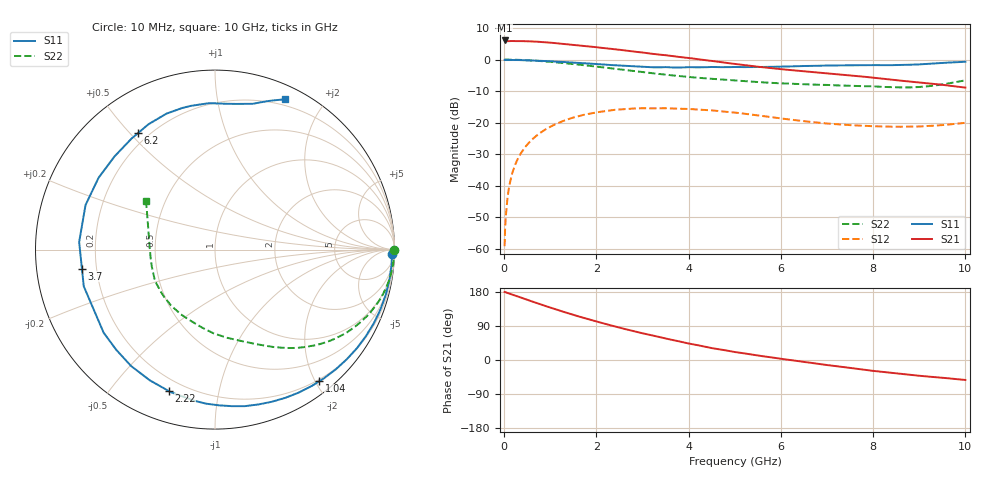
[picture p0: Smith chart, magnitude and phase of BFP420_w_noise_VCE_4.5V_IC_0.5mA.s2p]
! Infineon Technologies  Discrete & RF Semiconductors
! BFP420
! VCE =  4.5 V,  IC =  0.5 mA
! Common Emitter S-Parameters:  Jan 2016
# GHz  S  MA  R  50
!  f  S11  S21  S12  S22
! GHz  MAG  ANG  MAG  ANG  MAG  ANG  MAG  ANG
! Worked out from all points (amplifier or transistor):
!   233 points, 10 MHz to 10 GHz, reference 50 ohm
!   highest |S21| = 6.1 dB at 10 MHz (marker M1)
!   |S21| within 3 dB of that: start of sweep to 2.523 GHz
!   unconditionally stable (mu >= 1): 4.507 GHz to end of sweep
!   at 200 MHz: K = 0.02, MSG = 20.4 dB, |S12| = -34.9 dB
!   at 1.74 GHz: K = 0.25, MSG = 10.9 dB, |S12| = -17.5 dB
!   at 10 GHz: K = 1.56, MAG = 1.2 dB, |S12| = -20.1 dB
!   lowest NFmin = 0.68 dB at 900 MHz
!   S11 on the Smith chart (normalised r, x): 10 MHz: 33, -65; 1.04 GHz: 0.17, -2.05; 2.22 GHz: 0.14, -0.72; 3.7 GHz: 0.14, -0.07; 6.2 GHz: 0.16, +0.53; 10 GHz: 0.14, +1.56
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0.01  0.9878 -1.4  2.009 179.5  0.0011 41.0  0.9991 0.0
0.025  0.9864 -1.2  1.945 179.3  0.0024 79.6  0.9977 -0.5
0.055  0.9864 -2.8  1.955 177.6  0.0047 86.3  0.9979 -1.3
0.085  0.9868 -4.3  1.959 176.5  0.0075 86.0  0.9978 -2.1
0.15  0.9859 -7.4  1.968 173.8  0.0135 84.5  0.9965 -3.8
0.24  0.9845 -11.8  1.962 169.9  0.0216 82.2  0.9936 -6.0
0.36  0.981 -17.8  1.963 165.0  0.0324 78.8  0.9872 -9.0
0.54  0.972 -26.8  1.942 157.2  0.0483 73.3  0.9732 -13.5
1.04  0.9355 -51.7  1.843 136.9  0.0891 58.0  0.9158 -24.9
1.4  0.9047 -69.6  1.745 122.8  0.1142 47.4  0.8642 -32.6
1.68  0.8789 -83.0  1.666 112.7  0.1306 39.4  0.8214 -37.9
2.22  0.829 -108.1  1.508 94.4  0.1538 25.0  0.7402 -47.1
2.8  0.7839 -134.6  1.344 76.3  0.1673 10.5  0.6582 -56.1
3.4  0.7539 -160.2  1.191 59.5  0.1688 -2.6  0.5864 -64.7
3.7  0.749 -171.9  1.122 51.6  0.167 -8.2  0.5563 -69.2
4.5  0.7629 161.0  0.954 31.4  0.1566 -21.9  0.4955 -82.3
5.1  0.7601 146.1  0.835 19.4  0.1418 -29.7  0.4608 -92.5
6.2  0.7783 123.3  0.683 0.0  0.1119 -37.0  0.4137 -112.3
6.8  0.7968 113.0  0.624 -9.9  0.1002 -36.8  0.399 -124.2
8.4  0.8153 85.1  0.48 -34.0  0.0863 -28.6  0.3646 -164.7
9.2  0.8564 73.1  0.419 -43.7  0.0886 -22.1  0.3778 167.6
10  0.923 65.1  0.359 -52.7  0.0994 -17.7  0.4686 145.0
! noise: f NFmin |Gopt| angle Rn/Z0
0.9  0.68  0.78  35  0.65
1.8  1.42  0.6  75  0.5
2.4  1.57  0.58  98  0.37
3  2.1  0.58  128  0.24
4  2.49  0.57  177  0.09
